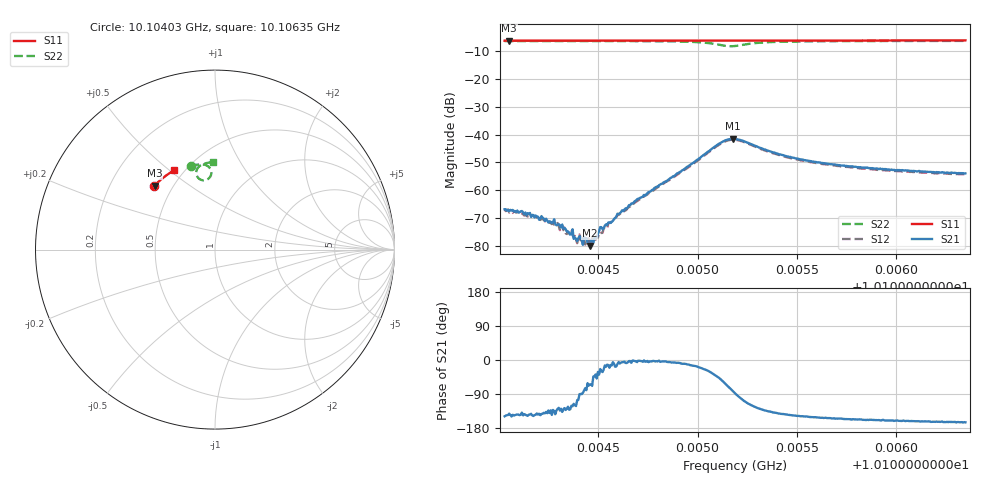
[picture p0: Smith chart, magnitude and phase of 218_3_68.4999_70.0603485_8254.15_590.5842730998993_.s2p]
#  HZ  S  RI  R  50.00
! Rohde & Schwarz Vector Network Analyzer
! Rohde-Schwarz,ZNB20-2Port,1311601062101988,3.16
! Created: UTC 3/20/2024, 5:13:32 PM
! freq[Hz]  re:S11  im:S11  re:S21  im:S21  re:S12  im:S12  re:S22  im:S22
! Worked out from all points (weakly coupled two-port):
!   401 points, 10.10403 GHz to 10.10635 GHz, reference 50 ohm
!   highest |S21| = -41.49 dB at 10.10518 GHz (marker M1); lowest = -80.0 dB at 10.10446 GHz (marker M2)
!   lowest |S11| = -6.2 dB at 10.10405 GHz (marker M3), VSWR 2.93, Z = 19.8 + j18.7 ohm
!   |S11| at or under -10 dB: nowhere
!   |S22| runs from -8.2 to -6.2 dB; largest |S21 - S12| = 0.00089
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1.0104027e10  -0.338 0.3562  -0.000387 -0.000236  -0.000354 -0.000294  -0.1361 0.4634
1.0104051e10  -0.3368 0.3571  -0.000329 -0.000261  -0.000307 -0.000252  -0.1345 0.4641
1.0104144e10  -0.3328 0.3612  -0.000324 -0.000208  -0.000264 -0.000206  -0.1281 0.466
1.0104173e10  -0.3317 0.3624  -0.000301 -0.00019  -0.000276 -0.000215  -0.1261 0.4665
1.0104265e10  -0.3276 0.3665  -0.000211 -0.000148  -0.000179 -0.000168  -0.1193 0.4685
1.0104358e10  -0.3234 0.3704  -0.000103 -0.000122  -5.91e-05 -0.000144  -0.1124 0.4702
1.0104387e10  -0.322 0.3717  -6.9e-05 -0.000113  -4.22e-05 -0.000123  -0.1101 0.4709
1.0104416e10  -0.3208 0.3727  7.51e-08 -0.000125  -2.46e-05 -0.000149  -0.1078 0.4712
1.0104434e10  -0.32 0.3736  3.66e-05 -0.00013  3.12e-05 -0.0001  -0.1066 0.4716
1.0104457e10  -0.3191 0.3745  4.35e-05 -9e-05  5.09e-05 -8.38e-05  -0.1046 0.4721
1.010448e10  -0.3181 0.3753  0.0001 -9.28e-05  9.81e-05 -0.000109  -0.1027 0.4725
1.0104498e10  -0.3171 0.3761  0.000138 -8.46e-05  0.000116 -7.71e-05  -0.1013 0.4727
1.0104608e10  -0.3124 0.3807  0.000376 -6.1e-05  0.000373 -1.65e-05  -0.0914 0.4743
1.0104805e10  -0.3031 0.3885  0.00123 -3.16e-05  0.00117 5.51e-05  -0.0699 0.4751
1.0105003e10  -0.2937 0.3962  0.00341 -0.00114  0.00336 -0.000805  -0.0348 0.4612
1.0105113e10  -0.2884 0.4001  0.00456 -0.00535  0.00488 -0.00471  -0.0234 0.4122
1.0105177e10  -0.2856 0.402  0.00121 -0.00834  0.00191 -0.00788  -0.064 0.3858
1.0105189e10  -0.2851 0.4026  0.000297 -0.00835  0.00108 -0.00802  -0.0732 0.3873
1.0105415e10  -0.2745 0.4112  -0.00345 -0.00275  -0.00307 -0.00294  -0.0902 0.4615
1.0105578e10  -0.2665 0.4168  -0.00286 -0.0016  -0.00263 -0.00179  -0.0711 0.4746
1.0105966e10  -0.2467 0.43  -0.00219 -0.000821  -0.00203 -0.00095  -0.0371 0.4842
1.010635e10  -0.2268 0.4419  -0.00193 -0.000536  -0.0018 -0.000664  -0.00887 0.4875
